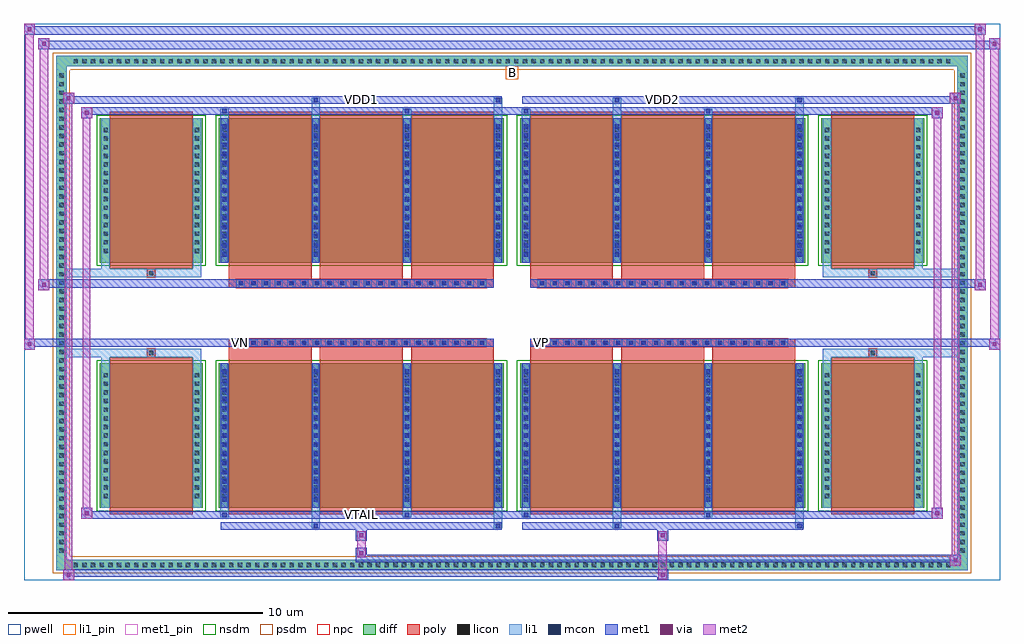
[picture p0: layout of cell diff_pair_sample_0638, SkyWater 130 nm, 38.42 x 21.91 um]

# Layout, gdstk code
import gdstk
lib = gdstk.Library(unit=1e-6, precision=5e-09)
def R(c, l, rs):  # rectangles x0, y0, x1, y1
    for r in rs: c.add(gdstk.rectangle(r[:2], r[2:], *l))
def A(c, l, x, y, w, h, nx, ny, dx, dy):  # array of equal rectangles
    R(c, l, [(x+i*dx, y+j*dy, x+i*dx+w, y+j*dy+h) for i in range(nx) for j in range(ny)])
def P(c, l, *ps):  # polygons
    for p in ps: c.add(gdstk.Polygon(p, *l))
pwell = (64, 44)
diff = (65, 20)
poly = (66, 20)
licon = (66, 44)
li1_pin = (67, 16)
li1 = (67, 20)
mcon = (67, 44)
met1_pin = (68, 16)
met1 = (68, 20)
via = (68, 44)
met2 = (69, 20)
nsdm = (93, 44)
psdm = (94, 20)
npc = (95, 20)

diff_pair_sample_0638 = lib.new_cell('diff_pair_sample_0638')
R(diff_pair_sample_0638, pwell, [(-19.21,-10.52,19.21,11.39), (-16.53,-8.71,-0.01,-0.805), (0.01,-8.71,16.53,-0.805), (-16.53,0.805,-0.01,8.71), (0.01,0.805,16.53,8.71)])
A(diff_pair_sample_0638, diff, -17.375, -10.12, 0.41, 0.41, 102, 2, 0.34, 19.83)
A(diff_pair_sample_0638, diff, -17.94, -9.555, 0.41, 0.41, 1, 56, 0, 0.34)
A(diff_pair_sample_0638, diff, 17.53, -9.555, 0.41, 0.41, 1, 56, 0, 0.34)
R(diff_pair_sample_0638, diff, [(-17.375,-10.12,17.375,-9.71), (-17.94,-9.555,-17.53,9.555), (17.53,-9.555,17.94,9.555), (-16.22,-7.665,-12.18,-1.985), (-11.54,-7.665,-0.32,-1.985), (0.32,-7.665,11.54,-1.985), (12.18,-7.665,16.22,-1.985), (-16.22,1.985,-12.18,7.665), (-11.54,1.985,-0.32,7.665), (0.32,1.985,11.54,7.665), (12.18,1.985,16.22,7.665), (-17.375,9.71,17.375,10.12)])
P(diff_pair_sample_0638, diff, [(17.94,10.12),(-17.94,10.12),(-17.94,-9.71),(-17.53,-9.71),(-17.53,9.71),(17.53,9.71),(17.53,-9.71),(-17.53,-9.71),(-17.94,-9.71),(-17.94,-10.12),(17.94,-10.12)])
A(diff_pair_sample_0638, poly, -11.15, -7.915, 3.26, 6.18, 3, 2, 3.59, 9.65)
A(diff_pair_sample_0638, poly, 0.71, -7.915, 3.26, 6.18, 3, 2, 3.59, 9.65)
A(diff_pair_sample_0638, poly, -11.15, -1.735, 3.26, 0.4, 3, 2, 3.59, 3.07)
A(diff_pair_sample_0638, poly, 0.71, -1.735, 3.26, 0.4, 3, 2, 3.59, 3.07)
A(diff_pair_sample_0638, poly, -10.845, -1.335, 0.33, 0.33, 20, 2, 0.5, 2.34)
A(diff_pair_sample_0638, poly, 1.015, -1.335, 0.33, 0.33, 20, 2, 0.5, 2.34)
R(diff_pair_sample_0638, poly, [(-15.83,-7.915,-12.57,-1.735), (12.57,-7.915,15.83,-1.735), (-14.365,-1.735,-14.035,-1.405), (-14.365,-1.735,-14.035,-1.405), (14.035,-1.735,14.365,-1.405), (14.035,-1.735,14.365,-1.405), (-11.15,-1.335,-0.71,-1.005), (0.71,-1.335,11.15,-1.005), (-11.15,1.005,-0.71,1.335), (0.71,1.005,11.15,1.335), (-14.365,1.405,-14.035,1.735), (-14.365,1.405,-14.035,1.735), (14.035,1.405,14.365,1.735), (14.035,1.405,14.365,1.735), (-15.83,1.735,-12.57,7.915), (12.57,1.735,15.83,7.915)])
A(diff_pair_sample_0638, licon, -17.255, -10, 0.17, 0.17, 102, 2, 0.34, 19.83)
A(diff_pair_sample_0638, licon, -17.82, -9.435, 0.17, 0.17, 1, 56, 0, 0.34)
A(diff_pair_sample_0638, licon, 17.65, -9.435, 0.17, 0.17, 1, 56, 0, 0.34)
A(diff_pair_sample_0638, licon, -16.08, -7.29, 0.17, 0.17, 1, 15, 0, 0.34)
A(diff_pair_sample_0638, licon, -12.49, -7.29, 0.17, 0.17, 1, 15, 0, 0.34)
A(diff_pair_sample_0638, licon, -11.4, -7.29, 0.17, 0.17, 4, 15, 3.59, 0.34)
A(diff_pair_sample_0638, licon, 0.46, -7.29, 0.17, 0.17, 4, 15, 3.59, 0.34)
A(diff_pair_sample_0638, licon, 12.32, -7.29, 0.17, 0.17, 1, 15, 0, 0.34)
A(diff_pair_sample_0638, licon, 15.91, -7.29, 0.17, 0.17, 1, 15, 0, 0.34)
A(diff_pair_sample_0638, licon, -10.765, -1.255, 0.17, 0.17, 20, 2, 0.5, 2.34)
A(diff_pair_sample_0638, licon, 1.095, -1.255, 0.17, 0.17, 20, 2, 0.5, 2.34)
A(diff_pair_sample_0638, licon, -16.08, 2.36, 0.17, 0.17, 1, 15, 0, 0.34)
A(diff_pair_sample_0638, licon, -12.49, 2.36, 0.17, 0.17, 1, 15, 0, 0.34)
A(diff_pair_sample_0638, licon, -11.4, 2.36, 0.17, 0.17, 4, 15, 3.59, 0.34)
A(diff_pair_sample_0638, licon, 0.46, 2.36, 0.17, 0.17, 4, 15, 3.59, 0.34)
A(diff_pair_sample_0638, licon, 12.32, 2.36, 0.17, 0.17, 1, 15, 0, 0.34)
A(diff_pair_sample_0638, licon, 15.91, 2.36, 0.17, 0.17, 1, 15, 0, 0.34)
R(diff_pair_sample_0638, licon, [(-14.285,-1.655,-14.115,-1.485), (14.115,-1.655,14.285,-1.485), (-14.285,1.485,-14.115,1.655), (14.115,1.485,14.285,1.655)])
R(diff_pair_sample_0638, li1_pin, [(-0.25,9.21,0.25,9.71)])
A(diff_pair_sample_0638, li1, -17.335, -10.08, 0.33, 0.33, 102, 2, 0.34, 19.83)
A(diff_pair_sample_0638, li1, -17.9, -9.515, 0.33, 0.33, 1, 56, 0, 0.34)
A(diff_pair_sample_0638, li1, 17.57, -9.515, 0.33, 0.33, 1, 56, 0, 0.34)
A(diff_pair_sample_0638, li1, -11.48, -7.665, 0.33, 5.68, 4, 2, 3.59, 9.65)
A(diff_pair_sample_0638, li1, 0.38, -7.665, 0.33, 5.68, 4, 2, 3.59, 9.65)
A(diff_pair_sample_0638, li1, -11.4, -7.43, 0.17, 0.17, 4, 15, 3.59, 0.36)
A(diff_pair_sample_0638, li1, -11.4, -7.43, 0.17, 5.21, 4, 2, 3.59, 9.65)
A(diff_pair_sample_0638, li1, 0.46, -7.43, 0.17, 0.17, 4, 15, 3.59, 0.36)
A(diff_pair_sample_0638, li1, 0.46, -7.43, 0.17, 5.21, 4, 2, 3.59, 9.65)
A(diff_pair_sample_0638, li1, -16.16, -7.37, 0.33, 0.33, 1, 15, 0, 0.34)
A(diff_pair_sample_0638, li1, -12.57, -7.37, 0.33, 0.33, 1, 15, 0, 0.34)
A(diff_pair_sample_0638, li1, -11.48, -7.37, 0.33, 0.33, 4, 15, 3.59, 0.34)
A(diff_pair_sample_0638, li1, 0.38, -7.37, 0.33, 0.33, 4, 15, 3.59, 0.34)
A(diff_pair_sample_0638, li1, 12.24, -7.37, 0.33, 0.33, 1, 15, 0, 0.34)
A(diff_pair_sample_0638, li1, 15.83, -7.37, 0.33, 0.33, 1, 15, 0, 0.34)
A(diff_pair_sample_0638, li1, -10.845, -1.335, 0.33, 0.33, 20, 2, 0.5, 2.34)
A(diff_pair_sample_0638, li1, 1.015, -1.335, 0.33, 0.33, 20, 2, 0.5, 2.34)
A(diff_pair_sample_0638, li1, -11.4, 2.22, 0.17, 0.17, 4, 15, 3.59, 0.36)
A(diff_pair_sample_0638, li1, 0.46, 2.22, 0.17, 0.17, 4, 15, 3.59, 0.36)
A(diff_pair_sample_0638, li1, -16.16, 2.28, 0.33, 0.33, 1, 15, 0, 0.34)
A(diff_pair_sample_0638, li1, -12.57, 2.28, 0.33, 0.33, 1, 15, 0, 0.34)
A(diff_pair_sample_0638, li1, -11.48, 2.28, 0.33, 0.33, 4, 15, 3.59, 0.34)
A(diff_pair_sample_0638, li1, 0.38, 2.28, 0.33, 0.33, 4, 15, 3.59, 0.34)
A(diff_pair_sample_0638, li1, 12.24, 2.28, 0.33, 0.33, 1, 15, 0, 0.34)
A(diff_pair_sample_0638, li1, 15.83, 2.28, 0.33, 0.33, 1, 15, 0, 0.34)
R(diff_pair_sample_0638, li1, [(-17.94,-10.12,-17.53,-9.71), (-17.94,-10.12,-17.53,-9.71), (-17.53,-10.12,17.53,-9.71), (17.53,-10.12,17.94,-9.71), (17.53,-10.12,17.94,-9.71), (-17.94,-9.71,-17.53,9.71), (17.53,-9.71,17.94,9.71), (-7.89,-8.47,-7.56,-7.665), (-7.81,-8.47,-7.64,-8.3), (-0.71,-8.47,-0.38,-7.665), (-0.63,-8.47,-0.46,-8.3), (3.97,-8.47,4.3,-7.665), (4.05,-8.47,4.22,-8.3), (11.15,-8.47,11.48,-7.665), (11.23,-8.47,11.4,-8.3), (-11.48,-8.04,-11.15,-7.665), (-11.4,-8.04,-11.23,-7.87), (-4.3,-8.04,-3.97,-7.665), (-4.22,-8.04,-4.05,-7.87), (0.38,-8.04,0.71,-7.665), (0.46,-8.04,0.63,-7.87), (7.56,-8.04,7.89,-7.665), (7.64,-8.04,7.81,-7.87), (-16.16,-7.665,-15.83,-1.985), (-12.57,-7.665,-12.24,-1.985), (12.24,-7.665,12.57,-1.985), (15.83,-7.665,16.16,-1.985), (-16.16,-1.985,-15.83,-1.405), (-12.57,-1.985,-12.24,-1.405), (12.24,-1.985,12.57,-1.405), (15.83,-1.985,16.16,-1.405), (-17.94,-1.735,-14.365,-1.405), (-16.16,-1.735,-14.365,-1.405), (-14.365,-1.735,-14.035,-1.405), (-14.035,-1.735,-12.24,-1.405), (12.24,-1.735,14.035,-1.405), (14.035,-1.735,14.365,-1.405), (14.035,-1.735,17.94,-1.405), (14.365,-1.735,16.16,-1.405), (-17.94,1.405,-14.365,1.735), (-16.16,1.405,-14.365,1.735), (-16.16,1.405,-15.83,1.985), (-14.365,1.405,-14.035,1.735), (-14.035,1.405,-12.24,1.735), (-12.57,1.405,-12.24,1.985), (12.24,1.405,14.035,1.735), (12.24,1.405,12.57,1.985), (14.035,1.405,14.365,1.735), (14.035,1.405,17.94,1.735), (14.365,1.405,16.16,1.735), (15.83,1.405,16.16,1.985), (-16.16,1.985,-15.83,7.665), (-12.57,1.985,-12.24,7.665), (12.24,1.985,12.57,7.665), (15.83,1.985,16.16,7.665), (-11.48,7.665,-11.15,8.04), (-7.89,7.665,-7.56,8.47), (-4.3,7.665,-3.97,8.04), (-0.71,7.665,-0.38,8.47), (0.38,7.665,0.71,8.04), (3.97,7.665,4.3,8.47), (7.56,7.665,7.89,8.04), (11.15,7.665,11.48,8.47), (-11.4,7.87,-11.23,8.04), (-4.22,7.87,-4.05,8.04), (0.46,7.87,0.63,8.04), (7.64,7.87,7.81,8.04), (-7.81,8.3,-7.64,8.47), (-0.63,8.3,-0.46,8.47), (4.05,8.3,4.22,8.47), (11.23,8.3,11.4,8.47), (-17.94,9.71,-17.53,10.12), (-17.94,9.71,-17.53,10.12), (-17.53,9.71,17.53,10.12), (17.53,9.71,17.94,10.12), (17.53,9.71,17.94,10.12)])
A(diff_pair_sample_0638, mcon, -11.4, -7.43, 0.17, 0.17, 4, 15, 3.59, 0.36)
A(diff_pair_sample_0638, mcon, 0.46, -7.43, 0.17, 0.17, 4, 15, 3.59, 0.36)
A(diff_pair_sample_0638, mcon, -10.765, -1.255, 0.17, 0.17, 20, 2, 0.5, 2.34)
A(diff_pair_sample_0638, mcon, 1.095, -1.255, 0.17, 0.17, 20, 2, 0.5, 2.34)
A(diff_pair_sample_0638, mcon, -11.4, 2.22, 0.17, 0.17, 4, 15, 3.59, 0.36)
A(diff_pair_sample_0638, mcon, 0.46, 2.22, 0.17, 0.17, 4, 15, 3.59, 0.36)
R(diff_pair_sample_0638, mcon, [(-7.81,-8.47,-7.64,-8.3), (-0.63,-8.47,-0.46,-8.3), (4.05,-8.47,4.22,-8.3), (11.23,-8.47,11.4,-8.3), (-11.4,-8.04,-11.23,-7.87), (-4.22,-8.04,-4.05,-7.87), (0.46,-8.04,0.63,-7.87), (7.64,-8.04,7.81,-7.87), (-11.4,7.87,-11.23,8.04), (-4.22,7.87,-4.05,8.04), (0.46,7.87,0.63,8.04), (7.64,7.87,7.81,8.04), (-7.81,8.3,-7.64,8.47), (-0.63,8.3,-0.46,8.47), (4.05,8.3,4.22,8.47), (11.23,8.3,11.4,8.47)])
R(diff_pair_sample_0638, met1_pin, [(-6.065,-8.08,-5.795,-7.81), (-10.815,-1.295,-10.545,-1.025), (1.045,-1.295,1.315,-1.025), (-6.065,8.26,-5.795,8.53), (5.795,8.26,6.065,8.53)])
A(diff_pair_sample_0638, met1, -11.46, -7.665, 0.29, 5.68, 4, 2, 3.59, 9.65)
A(diff_pair_sample_0638, met1, 0.4, -7.665, 0.29, 5.68, 4, 2, 3.59, 9.65)
A(diff_pair_sample_0638, met1, -11.46, -7.49, 0.29, 0.29, 4, 15, 3.59, 0.36)
A(diff_pair_sample_0638, met1, 0.4, -7.49, 0.29, 0.29, 4, 15, 3.59, 0.36)
A(diff_pair_sample_0638, met1, -10.825, -1.315, 0.29, 0.29, 20, 2, 0.5, 2.34)
A(diff_pair_sample_0638, met1, 1.035, -1.315, 0.29, 0.29, 20, 2, 0.5, 2.34)
A(diff_pair_sample_0638, met1, -11.46, 2.16, 0.29, 0.29, 4, 15, 3.59, 0.36)
A(diff_pair_sample_0638, met1, 0.4, 2.16, 0.29, 0.29, 4, 15, 3.59, 0.36)
R(diff_pair_sample_0638, met1, [(-17.67,-10.52,-17.24,-10.09), (5.715,-10.52,6.145,-10.09), (-17.67,-10.38,6.145,-10.09), (17.24,-9.95,17.67,-9.52), (-6.145,-9.81,17.67,-9.52), (-6.145,-9.67,-5.715,-9.24), (-6.145,-8.96,-5.715,-8.53), (5.715,-8.96,6.145,-8.53), (-11.46,-8.53,-0.4,-8.24), (-7.87,-8.53,-7.58,-8.24), (-0.69,-8.53,-0.4,-8.24), (0.4,-8.53,11.46,-8.24), (3.99,-8.53,4.28,-8.24), (11.17,-8.53,11.46,-8.24), (-16.96,-8.1,-16.53,-7.67), (-16.96,-8.1,-11.46,-7.81), (-11.46,-8.1,-11.17,-7.81), (-11.46,-8.1,-0.4,-7.81), (-4.28,-8.1,-3.99,-7.81), (-0.4,-8.1,0.4,-7.81), (0.4,-8.1,0.69,-7.81), (0.4,-8.1,11.46,-7.81), (7.58,-8.1,7.87,-7.81), (11.46,-8.1,16.96,-7.81), (16.53,-8.1,16.96,-7.67), (-19.21,-1.435,-18.78,-1.005), (18.78,-1.435,19.21,-1.005), (-19.21,-1.335,-0.71,-1.005), (-11.15,-1.335,-0.71,-1.005), (0.71,-1.335,11.15,-1.005), (0.71,-1.335,19.21,-1.005), (-18.64,0.905,-18.21,1.335), (18.21,0.905,18.64,1.335), (-18.64,1.005,-11.15,1.335), (-11.15,1.005,-0.71,1.335), (0.71,1.005,11.15,1.335), (11.15,1.005,18.64,1.335), (-16.96,7.67,-16.53,8.1), (16.53,7.67,16.96,8.1), (-16.96,7.81,-11.46,8.1), (-11.46,7.81,-11.17,8.1), (-11.46,7.81,-0.4,8.1), (-4.28,7.81,-3.99,8.1), (-0.4,7.81,0.4,8.1), (0.4,7.81,0.69,8.1), (0.4,7.81,11.46,8.1), (7.58,7.81,7.87,8.1), (11.46,7.81,16.96,8.1), (-17.67,8.24,-17.24,8.67), (-17.67,8.24,-11.46,8.53), (-11.46,8.24,-0.4,8.53), (-7.87,8.24,-7.58,8.53), (-0.69,8.24,-0.4,8.53), (0.4,8.24,11.46,8.53), (3.99,8.24,4.28,8.53), (11.17,8.24,11.46,8.53), (11.46,8.24,17.67,8.53), (17.24,8.24,17.67,8.67), (-18.64,10.39,-18.21,10.82), (-18.64,10.39,-16.53,10.72), (-16.53,10.39,16.53,10.72), (16.53,10.39,19.21,10.72), (18.78,10.39,19.21,10.82), (-19.21,10.96,-18.78,11.39), (-19.21,10.96,-16.53,11.29), (-16.53,10.96,16.53,11.29), (16.53,10.96,18.64,11.29), (18.21,10.96,18.64,11.39)])
R(diff_pair_sample_0638, via, [(-17.53,-10.38,-17.38,-10.23), (5.855,-10.38,6.005,-10.23), (17.38,-9.81,17.53,-9.66), (-6.005,-9.53,-5.855,-9.38), (-6.005,-8.82,-5.855,-8.67), (5.855,-8.82,6.005,-8.67), (-16.82,-7.96,-16.67,-7.81), (16.67,-7.96,16.82,-7.81), (-19.07,-1.295,-18.92,-1.145), (18.92,-1.295,19.07,-1.145), (-18.5,1.045,-18.35,1.195), (18.35,1.045,18.5,1.195), (-16.82,7.81,-16.67,7.96), (16.67,7.81,16.82,7.96), (-17.53,8.38,-17.38,8.53), (17.38,8.38,17.53,8.53), (-18.5,10.53,-18.35,10.68), (18.92,10.53,19.07,10.68), (-19.07,11.1,-18.92,11.25), (18.35,11.1,18.5,11.25)])
R(diff_pair_sample_0638, met2, [(-17.67,-10.52,-17.24,-10.09), (-17.6,-10.52,-17.31,8.67), (-17.31,-10.52,-17.24,-10.09), (-17.62,-10.47,-17.29,-10.14), (5.765,-10.47,6.095,-10.14), (5.765,-10.14,6.095,-8.91), (17.24,-9.95,17.67,-9.52), (17.31,-9.95,17.6,8.67), (17.6,-9.95,17.67,-9.52), (17.29,-9.9,17.62,-9.57), (-6.095,-9.62,-5.765,-9.29), (-6.095,-9.29,-5.765,-8.91), (-6.095,-8.91,-5.765,-8.58), (5.765,-8.91,6.095,-8.58), (-16.96,-8.1,-16.53,-7.67), (-16.89,-8.1,-16.6,8.1), (-16.6,-8.1,-16.53,-7.67), (16.53,-8.1,16.96,-7.67), (16.6,-8.1,16.89,8.1), (16.89,-8.1,16.96,-7.67), (-16.91,-8.05,-16.58,-7.72), (16.58,-8.05,16.91,-7.72), (-19.21,-1.435,-18.78,-1.005), (-19.16,-1.435,-18.83,11.39), (-18.83,-1.435,-18.78,-1.005), (18.78,-1.435,19.21,-1.005), (18.83,-1.435,19.16,10.82), (19.16,-1.435,19.21,-1.005), (-19.16,-1.385,-18.83,-1.055), (18.83,-1.385,19.16,-1.055), (-18.64,0.905,-18.21,1.335), (-18.59,0.905,-18.26,10.82), (-18.26,0.905,-18.21,1.335), (18.21,0.905,18.64,1.335), (18.26,0.905,18.59,11.39), (18.59,0.905,18.64,1.335), (-18.59,0.955,-18.26,1.285), (18.26,0.955,18.59,1.285), (-16.96,7.67,-16.53,8.1), (-16.6,7.67,-16.53,8.1), (16.53,7.67,16.96,8.1), (16.89,7.67,16.96,8.1), (-16.91,7.72,-16.58,8.05), (16.58,7.72,16.91,8.05), (-17.67,8.24,-17.24,8.67), (-17.31,8.24,-17.24,8.67), (17.24,8.24,17.67,8.67), (17.6,8.24,17.67,8.67), (-17.62,8.29,-17.29,8.62), (17.29,8.29,17.62,8.62), (-18.64,10.39,-18.21,10.82), (-18.26,10.39,-18.21,10.82), (18.78,10.39,19.21,10.82), (19.16,10.39,19.21,10.82), (-18.59,10.44,-18.26,10.77), (18.83,10.44,19.16,10.77), (-19.21,10.96,-18.78,11.39), (-18.83,10.96,-18.78,11.39), (18.21,10.96,18.64,11.39), (18.59,10.96,18.64,11.39), (-19.16,11.01,-18.83,11.34), (18.26,11.01,18.59,11.34)])
R(diff_pair_sample_0638, nsdm, [(-16.35,-7.795,-12.05,-1.855), (-11.67,-7.795,-0.19,-1.855), (0.19,-7.795,11.67,-1.855), (12.05,-7.795,16.35,-1.855), (-16.35,1.855,-12.05,7.795), (-11.67,1.855,-0.19,7.795), (0.19,1.855,11.67,7.795), (12.05,1.855,16.35,7.795)])
P(diff_pair_sample_0638, psdm, [(18.07,10.25),(-18.07,10.25),(-18.07,-9.58),(-17.4,-9.58),(-17.4,9.58),(17.4,9.58),(17.4,-9.58),(-17.4,-9.58),(-18.07,-9.58),(-18.07,-10.25),(18.07,-10.25)])
A(diff_pair_sample_0638, npc, -10.865, -1.355, 0.37, 0.37, 20, 2, 0.5, 2.34)
A(diff_pair_sample_0638, npc, 0.995, -1.355, 0.37, 0.37, 20, 2, 0.5, 2.34)
R(diff_pair_sample_0638, npc, [(-14.385,-1.755,-14.015,-1.385), (14.015,-1.755,14.385,-1.385), (-10.865,-1.355,-9.995,-0.985), (-10.865,-1.355,-9.995,-0.985), (-10.365,-1.355,-9.495,-0.985), (-10.365,-1.355,-9.495,-0.985), (-9.865,-1.355,-8.995,-0.985), (-9.865,-1.355,-8.995,-0.985), (-9.365,-1.355,-8.495,-0.985), (-9.365,-1.355,-8.495,-0.985), (-8.865,-1.355,-7.995,-0.985), (-8.865,-1.355,-7.995,-0.985), (-8.365,-1.355,-7.495,-0.985), (-8.365,-1.355,-7.495,-0.985), (-7.865,-1.355,-6.995,-0.985), (-7.865,-1.355,-6.995,-0.985), (-7.365,-1.355,-6.495,-0.985), (-7.365,-1.355,-6.495,-0.985), (-6.865,-1.355,-5.995,-0.985), (-6.865,-1.355,-5.995,-0.985), (-6.365,-1.355,-5.495,-0.985), (-6.365,-1.355,-5.495,-0.985), (-5.865,-1.355,-4.995,-0.985), (-5.865,-1.355,-4.995,-0.985), (-5.365,-1.355,-4.495,-0.985), (-5.365,-1.355,-4.495,-0.985), (-4.865,-1.355,-3.995,-0.985), (-4.865,-1.355,-3.995,-0.985), (-4.365,-1.355,-3.495,-0.985), (-4.365,-1.355,-3.495,-0.985), (-3.865,-1.355,-2.995,-0.985), (-3.865,-1.355,-2.995,-0.985), (-3.365,-1.355,-2.495,-0.985), (-3.365,-1.355,-2.495,-0.985), (-2.865,-1.355,-1.995,-0.985), (-2.865,-1.355,-1.995,-0.985), (-2.365,-1.355,-1.495,-0.985), (-2.365,-1.355,-1.495,-0.985), (-1.865,-1.355,-0.995,-0.985), (-1.865,-1.355,-0.995,-0.985), (0.995,-1.355,1.865,-0.985), (0.995,-1.355,1.865,-0.985), (1.495,-1.355,2.365,-0.985), (1.495,-1.355,2.365,-0.985), (1.995,-1.355,2.865,-0.985), (1.995,-1.355,2.865,-0.985), (2.495,-1.355,3.365,-0.985), (2.495,-1.355,3.365,-0.985), (2.995,-1.355,3.865,-0.985), (2.995,-1.355,3.865,-0.985), (3.495,-1.355,4.365,-0.985), (3.495,-1.355,4.365,-0.985), (3.995,-1.355,4.865,-0.985), (3.995,-1.355,4.865,-0.985), (4.495,-1.355,5.365,-0.985), (4.495,-1.355,5.365,-0.985), (4.995,-1.355,5.865,-0.985), (4.995,-1.355,5.865,-0.985), (5.495,-1.355,6.365,-0.985), (5.495,-1.355,6.365,-0.985), (5.995,-1.355,6.865,-0.985), (5.995,-1.355,6.865,-0.985), (6.495,-1.355,7.365,-0.985), (6.495,-1.355,7.365,-0.985), (6.995,-1.355,7.865,-0.985), (6.995,-1.355,7.865,-0.985), (7.495,-1.355,8.365,-0.985), (7.495,-1.355,8.365,-0.985), (7.995,-1.355,8.865,-0.985), (7.995,-1.355,8.865,-0.985), (8.495,-1.355,9.365,-0.985), (8.495,-1.355,9.365,-0.985), (8.995,-1.355,9.865,-0.985), (8.995,-1.355,9.865,-0.985), (9.495,-1.355,10.365,-0.985), (9.495,-1.355,10.365,-0.985), (9.995,-1.355,10.865,-0.985), (9.995,-1.355,10.865,-0.985), (-10.865,0.985,-9.995,1.355), (-10.865,0.985,-9.995,1.355), (-10.365,0.985,-9.495,1.355), (-10.365,0.985,-9.495,1.355), (-9.865,0.985,-8.995,1.355), (-9.865,0.985,-8.995,1.355), (-9.365,0.985,-8.495,1.355), (-9.365,0.985,-8.495,1.355), (-8.865,0.985,-7.995,1.355), (-8.865,0.985,-7.995,1.355), (-8.365,0.985,-7.495,1.355), (-8.365,0.985,-7.495,1.355), (-7.865,0.985,-6.995,1.355), (-7.865,0.985,-6.995,1.355), (-7.365,0.985,-6.495,1.355), (-7.365,0.985,-6.495,1.355), (-6.865,0.985,-5.995,1.355), (-6.865,0.985,-5.995,1.355), (-6.365,0.985,-5.495,1.355), (-6.365,0.985,-5.495,1.355), (-5.865,0.985,-4.995,1.355), (-5.865,0.985,-4.995,1.355), (-5.365,0.985,-4.495,1.355), (-5.365,0.985,-4.495,1.355), (-4.865,0.985,-3.995,1.355), (-4.865,0.985,-3.995,1.355), (-4.365,0.985,-3.495,1.355), (-4.365,0.985,-3.495,1.355), (-3.865,0.985,-2.995,1.355), (-3.865,0.985,-2.995,1.355), (-3.365,0.985,-2.495,1.355), (-3.365,0.985,-2.495,1.355), (-2.865,0.985,-1.995,1.355), (-2.865,0.985,-1.995,1.355), (-2.365,0.985,-1.495,1.355), (-2.365,0.985,-1.495,1.355), (-1.865,0.985,-0.995,1.355), (-1.865,0.985,-0.995,1.355), (0.995,0.985,1.865,1.355), (0.995,0.985,1.865,1.355), (1.495,0.985,2.365,1.355), (1.495,0.985,2.365,1.355), (1.995,0.985,2.865,1.355), (1.995,0.985,2.865,1.355), (2.495,0.985,3.365,1.355), (2.495,0.985,3.365,1.355), (2.995,0.985,3.865,1.355), (2.995,0.985,3.865,1.355), (3.495,0.985,4.365,1.355), (3.495,0.985,4.365,1.355), (3.995,0.985,4.865,1.355), (3.995,0.985,4.865,1.355), (4.495,0.985,5.365,1.355), (4.495,0.985,5.365,1.355), (4.995,0.985,5.865,1.355), (4.995,0.985,5.865,1.355), (5.495,0.985,6.365,1.355), (5.495,0.985,6.365,1.355), (5.995,0.985,6.865,1.355), (5.995,0.985,6.865,1.355), (6.495,0.985,7.365,1.355), (6.495,0.985,7.365,1.355), (6.995,0.985,7.865,1.355), (6.995,0.985,7.865,1.355), (7.495,0.985,8.365,1.355), (7.495,0.985,8.365,1.355), (7.995,0.985,8.865,1.355), (7.995,0.985,8.865,1.355), (8.495,0.985,9.365,1.355), (8.495,0.985,9.365,1.355), (8.995,0.985,9.865,1.355), (8.995,0.985,9.865,1.355), (9.495,0.985,10.365,1.355), (9.495,0.985,10.365,1.355), (9.995,0.985,10.865,1.355), (9.995,0.985,10.865,1.355), (-14.385,1.385,-14.015,1.755), (14.015,1.385,14.385,1.755)])
diff_pair_sample_0638.add(gdstk.Label('VTAIL', (-5.93,-7.945), layer=68, texttype=5))
diff_pair_sample_0638.add(gdstk.Label('VN', (-10.68,-1.16), layer=68, texttype=5))
diff_pair_sample_0638.add(gdstk.Label('VP', (1.18,-1.16), layer=68, texttype=5))
diff_pair_sample_0638.add(gdstk.Label('B', (0,9.46), layer=67, texttype=5))
diff_pair_sample_0638.add(gdstk.Label('VDD2', (5.93,8.395), layer=68, texttype=5))
diff_pair_sample_0638.add(gdstk.Label('VDD1', (-5.93,8.395), layer=68, texttype=5))

lib.write_gds('diff_pair_sample_0638.gds')
